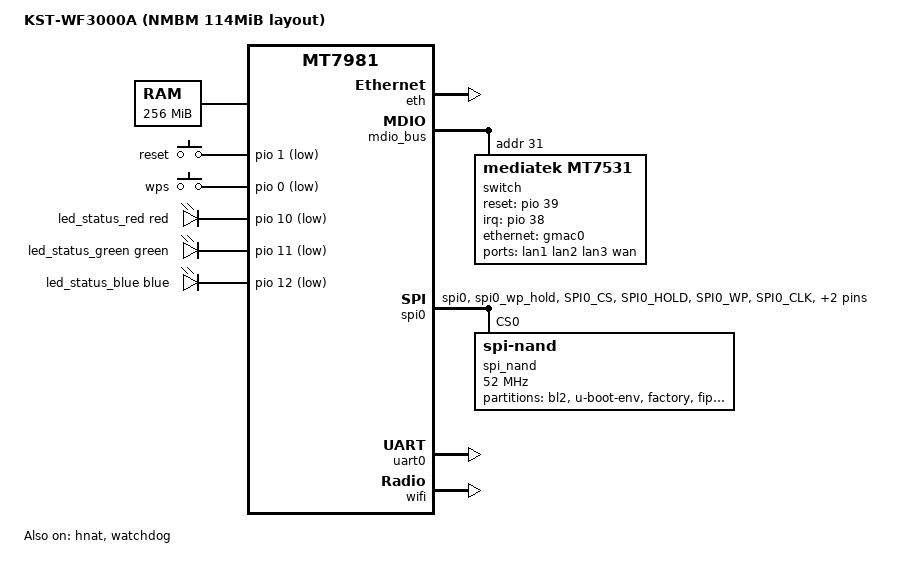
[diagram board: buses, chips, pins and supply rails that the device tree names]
// SPDX-License-Identifier: GPL-2.0-or-later OR MIT
/*
 * KST-WF3000A support ported to the MediaTek filogic / Linux 6.6 tree.
 * Original board description: Tianling Shen <cnsztl@immortalwrt.org>
 *
 * 本文件相对 Anser-y 原版只改了两处（均可搜 "CHANGED" 定位）：
 *   1) model / compatible 描述里的 248MiB -> 114MiB（纯文字，无功能影响）
 *   2) ubi 分区 reg 长度 0x0f280000 -> 0x07200000
 *   3) 在 factory 分区里补了一个 MAC 的 nvmem cell，并把 gmac0/gmac1 指向它
 *      —— 这是修「MAC 地址随机」的关键，原版 DTS 完全没有这段
 *   4) factory 分区改用 nvmem-layout，并给 &wifi 补上 nvmem-cells 指向
 *      eeprom@0（校准数据）—— 与上游 6.6 源码里其它 MT7981 机型写法一致。
 *      同时保留 mediatek,mtd-eeprom 作为兜底（mt76 优先用它，失败才回退 nvmem），
 *      两种写法并存不会冲突。
 *
 * 第 3 点的偏移已实测确认 = 0x4（见文件末尾实测记录）。
 *      cat /proc/mtd                      # 确认 factory 对应哪个 mtd
 *      hexdump -C /dev/mtd2 | head -20    # (mtd2 换成实际的 factory)
 *    找到形如 xx:xx:xx:xx:xx:xx 连续排列的 6 字节，记下它的起始偏移，
 *    若你的机器实测到不同偏移，把 reg = <0x4 0x6> 里的 0x4 换掉。
 *
 * 分区校验：0x0580000 + 0x07200000 = 0x07780000 = 119.5 MiB，
 * 与 hanwckf 系 U-Boot 的 expand(114m) 布局
 *   nmbm0:1024k(bl2),512k(u-boot-env),2048k(factory),2048k(fip),116736k(ubi)
 * 完全对齐。
 *
 * ── MAC 实测结果（2026-10-15，已在实机上验证）──────────────
 * Factory 分区（mtd2）：
 *   0x4  ->  48:DA:35:50:70:F7
 *   0xa  ->  48:DA:35:50:70:F8
 * 机身标签           =  48:DA:35:50:70:F5
 *
 * 即 factory 里只有两个无线 MAC（F7 = 2.4G，F8 = 5G），
 * 以太网 MAC（F5 = LAN，F6 = WAN）不在这个分区里。
 *
 * 所以本文件里 gmac 绑定的 0x4 只能让内核先拿到一个「本机合法但不等于标签」
 * 的 MAC（F7）。最终 LAN/WAN 的 MAC 由 02_network 决定（会覆盖这里的值），
 * 建议按 02_network.snippet.txt 的「方案 A」硬编码成 F5 / F6。
 */

/dts-v1/;
#include <dt-bindings/gpio/gpio.h>
#include <dt-bindings/input/input.h>
#include <dt-bindings/leds/common.h>

#include "mt7981.dtsi"

/ {
	model = "KST-WF3000A (NMBM 114MiB layout)";   /* CHANGED */
	compatible = "kst,wf3000a", "mediatek,mt7981";

	aliases {
		serial0 = &uart0;
		led-boot = &led_status_red;
		led-failsafe = &led_status_red;
		led-running = &led_status_green;
		led-upgrade = &led_status_blue;
	};

	chosen {
		stdout-path = "serial0:115200n8";
	};

	memory {
		reg = <0 0x40000000 0 0x10000000>;   /* 256MB DDR3 */
	};

	gpio-keys {
		compatible = "gpio-keys";

		reset {
			label = "reset";
			linux,code = <KEY_RESTART>;
			gpios = <&pio 1 GPIO_ACTIVE_LOW>;
		};

		wps {
			label = "wps";
			linux,code = <KEY_WPS_BUTTON>;
			gpios = <&pio 0 GPIO_ACTIVE_LOW>;
		};
	};

	leds {
		compatible = "gpio-leds";

		led_status_red: red {
			function = LED_FUNCTION_STATUS;
			color = <LED_COLOR_ID_RED>;
			gpios = <&pio 10 GPIO_ACTIVE_LOW>;
		};

		led_status_green: green {
			function = LED_FUNCTION_STATUS;
			color = <LED_COLOR_ID_GREEN>;
			gpios = <&pio 11 GPIO_ACTIVE_LOW>;
		};

		led_status_blue: blue {
			function = LED_FUNCTION_STATUS;
			color = <LED_COLOR_ID_BLUE>;
			gpios = <&pio 12 GPIO_ACTIVE_LOW>;
		};
	};
};

&eth {
	status = "okay";

	gmac0: mac@0 {
		compatible = "mediatek,eth-mac";
		reg = <0>;
		phy-mode = "2500base-x";

		fixed-link {
			speed = <2500>;
			full-duplex;
			pause;
		};
	};

	gmac1: mac@1 {
		compatible = "mediatek,eth-mac";
		reg = <1>;
		phy-mode = "2500base-x";

		fixed-link {
			speed = <2500>;
			full-duplex;
			pause;
		};
	};
};

/* CHANGED: 新增 —— 给以太网口绑定 factory 里的 MAC，根治「MAC 随机」 */
&gmac0 {
	nvmem-cells = <&macaddr_factory_4>;
	nvmem-cell-names = "mac-address";
};

&gmac1 {
	nvmem-cells = <&macaddr_factory_4>;
	nvmem-cell-names = "mac-address";
	/* WAN 通常用 label_mac + 1；若你希望 WAN 与 LAN 同 MAC，删掉下面这行 */
	mac-address-increment = <1>;
};

&mdio_bus {
	switch: switch@1f {
		compatible = "mediatek,mt7531";
		reg = <31>;
		reset-gpios = <&pio 39 GPIO_ACTIVE_HIGH>;
		interrupt-controller;
		#interrupt-cells = <1>;
		interrupt-parent = <&pio>;
		interrupts = <38 IRQ_TYPE_LEVEL_HIGH>;
	};
};

&switch {
	ports {
		#address-cells = <1>;
		#size-cells = <0>;

		port@0 {
			reg = <0>;
			label = "lan1";
		};

		port@1 {
			reg = <1>;
			label = "lan2";
		};

		port@2 {
			reg = <2>;
			label = "lan3";
		};

		port@3 {
			reg = <3>;
			label = "wan";
		};

		port@6 {
			reg = <6>;
			ethernet = <&gmac0>;
			phy-mode = "2500base-x";

			fixed-link {
				speed = <2500>;
				full-duplex;
				pause;
			};
		};
	};
};

&hnat {
	mtketh-wan = "eth1";
	mtketh-lan = "lan";
	mtketh-ppd = "eth1";
	mtketh-max-gmac = <2>;
	status = "okay";
};

&spi0 {
	pinctrl-names = "default";
	pinctrl-0 = <&spi0_flash_pins>;
	status = "okay";

	spi_nand: spi_nand@0 {
		compatible = "spi-nand";
		#address-cells = <1>;
		#size-cells = <1>;
		reg = <0>;
		spi-max-frequency = <52000000>;
		spi-tx-bus-width = <4>;
		spi-rx-bus-width = <4>;

		mediatek,nmbm;
		mediatek,bmt-max-ratio = <1>;
		mediatek,bmt-max-reserved-blocks = <64>;

		spi-cal-enable;
		spi-cal-mode = "read-data";
		spi-cal-datalen = <7>;
		spi-cal-data = /bits/ 8 <0x53 0x50 0x49 0x4e 0x41 0x4e 0x44>;
		spi-cal-addrlen = <5>;
		spi-cal-addr = /bits/ 32 <0x0 0x0 0x0 0x0 0x0>;

		partitions {
			compatible = "fixed-partitions";
			#address-cells = <1>;
			#size-cells = <1>;

			partition@0 {
				label = "bl2";
				reg = <0x0000000 0x0100000>;
				read-only;
			};

			partition@100000 {
				label = "u-boot-env";
				reg = <0x0100000 0x0080000>;
			};

			factory: partition@180000 {
				/* ⚠️ 标签不要改：闭源无线驱动的 mt_mtd_read_nm_wifi() 内部
				   get_mtd_device_nm("Factory") 失败后会再试 "factory"，
				   小写能命中第二个分支。read-only 也必须保留 —— 万一
				   eeprom 校验失败，驱动会试图把默认 eeprom 写回 flash，
				   read-only 会挡住这次写，保护原有 factory 数据。 */
				label = "factory";
				reg = <0x0180000 0x0200000>;
				read-only;

				/* CHANGED: 新增 —— 标准 nvmem 布局（MAC + 无线校准数据） */
				nvmem-layout {
					compatible = "fixed-layout";
					#address-cells = <1>;
					#size-cells = <1>;

					/* 无线 EEPROM / 校准数据：mt76 通过 nvmem cell "eeprom" 读取 */
					eeprom_factory_0: eeprom@0 {
						reg = <0x0 0x1000>;
					};

					/* 以太网 MAC：实测 48:DA:35:50:70:F7 */
					macaddr_factory_4: macaddr@4 {
						reg = <0x4 0x6>;
					};
				};
			};

			partition@380000 {
				label = "fip";
				reg = <0x0380000 0x0200000>;
				read-only;
			};

			partition@580000 {
				label = "ubi";
				reg = <0x0580000 0x07200000>;   /* CHANGED: 原为 0x0f280000 (248MiB) */
			};
		};
	};
};

&pio {
	spi0_flash_pins: spi0-pins {
		mux {
			function = "spi";
			groups = "spi0", "spi0_wp_hold";
		};

		conf-pu {
			pins = "SPI0_CS", "SPI0_HOLD", "SPI0_WP";
			drive-strength = <8>;
			mediatek,pull-up-adv = <0>;
		};

		conf-pd {
			pins = "SPI0_CLK", "SPI0_MOSI", "SPI0_MISO";
			drive-strength = <8>;
			mediatek,pull-up-adv = <0>;
		};
	};
};

&uart0 {
	status = "okay";
};

&watchdog {
	status = "okay";
};

&wifi {
	status = "okay";
	/* 说明：本源码用 MTK 闭源驱动(mt_wifi)，它【不读】这个节点的 eeprom 属性，
	   而是按 CONFIG_MTK_RT_FIRST_IF_RF_OFFSET 直接从 flash 读校准数据。
	   这里保留两种标准写法（对闭源驱动无害）：
	     - nvmem cells：与上游 6.6 的 MT7981 机型写法一致
	     - mediatek,mtd-eeprom：老写法，开源 mt76 会用它
	   将来若改用开源 mt76 驱动，这段就立刻生效，无需再改。 */
	nvmem-cells = <&eeprom_factory_0>;
	nvmem-cell-names = "eeprom";
	mediatek,mtd-eeprom = <&factory 0x0>;
};
